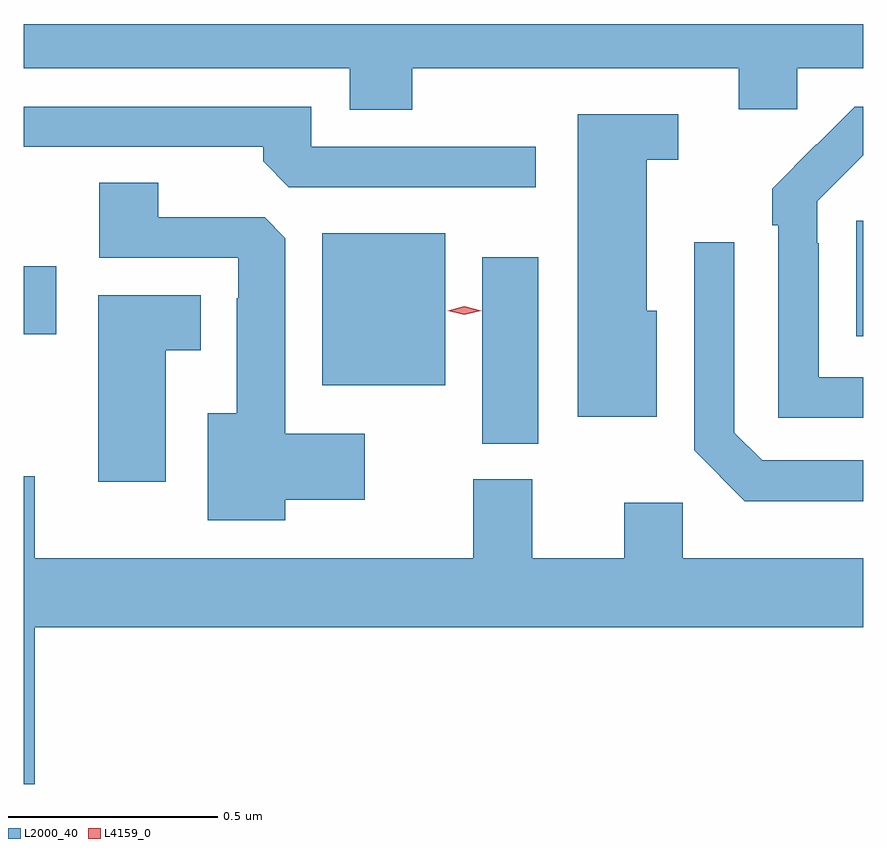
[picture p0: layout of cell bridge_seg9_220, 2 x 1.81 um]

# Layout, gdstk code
import gdstk
lib = gdstk.Library(unit=1e-6, precision=1e-09)
def R(c, l, rs):  # rectangles x0, y0, x1, y1
    for r in rs: c.add(gdstk.rectangle(r[:2], r[2:], *l))
def P(c, l, *ps):  # polygons
    for p in ps: c.add(gdstk.Polygon(p, *l))
L2000_40 = (2000, 40)
L4159_0 = (4159, 0)

bridge_seg9_220 = lib.new_cell('bridge_seg9_220')
R(bridge_seg9_220, L2000_40, [(154.25,1207.513,154.384,1207.957), (153.869,1207.652,154.162,1208.014), (155.141,1207.769,155.158,1208.044), (153.158,1207.774,153.235,1207.936)])
P(bridge_seg9_220, L2000_40, [(154.083,1208.408),(154.862,1208.408),(154.862,1208.31),(155.001,1208.31),(155.001,1208.408),(155.158,1208.408),(155.158,1208.513),(153.158,1208.513),(153.158,1208.408),(153.935,1208.408),(153.935,1208.309),(154.083,1208.309)],
  [(154.378,1208.22),(153.843,1208.22),(153.843,1208.316),(153.158,1208.316),(153.158,1208.22),(153.728,1208.22),(153.728,1208.186),(153.789,1208.124),(154.378,1208.124)],
  [(155.158,1207.671),(155.052,1207.671),(155.052,1207.991),(155.049,1207.991),(155.049,1208.091),(155.158,1208.2),(155.158,1208.316),(155.138,1208.316),(155.047,1208.225),(155.046,1208.226),(154.941,1208.121),(154.941,1208.033),(154.956,1208.033),(154.956,1207.575),(155.158,1207.575)],
  [(154.666,1207.83),(154.642,1207.83),(154.642,1208.19),(154.717,1208.19),(154.717,1208.298),(154.478,1208.298),(154.478,1207.577),(154.666,1207.577)],
  [(153.781,1207.379),(153.97,1207.379),(153.97,1207.537),(153.781,1207.537),(153.781,1208.003),(153.732,1208.052),(153.478,1208.052),(153.478,1208.135),(153.338,1208.135),(153.338,1207.956),(153.669,1207.956),(153.669,1207.859),(153.665,1207.859),(153.665,1207.585),(153.596,1207.585),(153.596,1207.331),(153.781,1207.331)],
  [(155.158,1207.473),(154.917,1207.473),(154.851,1207.539),(154.851,1207.993),(154.755,1207.993),(154.755,1207.497),(154.876,1207.376),(155.158,1207.376)],
  [(153.496,1207.736),(153.58,1207.736),(153.58,1207.867),(153.335,1207.867),(153.335,1207.422),(153.496,1207.422)],
  [(153.184,1207.076),(155.158,1207.076),(155.158,1207.24),(154.728,1207.24),(154.728,1207.372),(154.589,1207.372),(154.589,1207.24),(154.369,1207.24),(154.369,1207.428),(154.229,1207.428),(154.229,1207.24),(153.184,1207.24),(153.184,1207.435),(153.158,1207.435),(153.158,1206.702),(153.184,1206.702)])
P(bridge_seg9_220, L4159_0, [(154.208,1207.82),(154.168,1207.83),(154.168,1207.83),(154.168,1207.83),(154.208,1207.84),(154.248,1207.83),(154.248,1207.83),(154.248,1207.83)])

lib.write_gds('bridge_seg9_220.gds')
